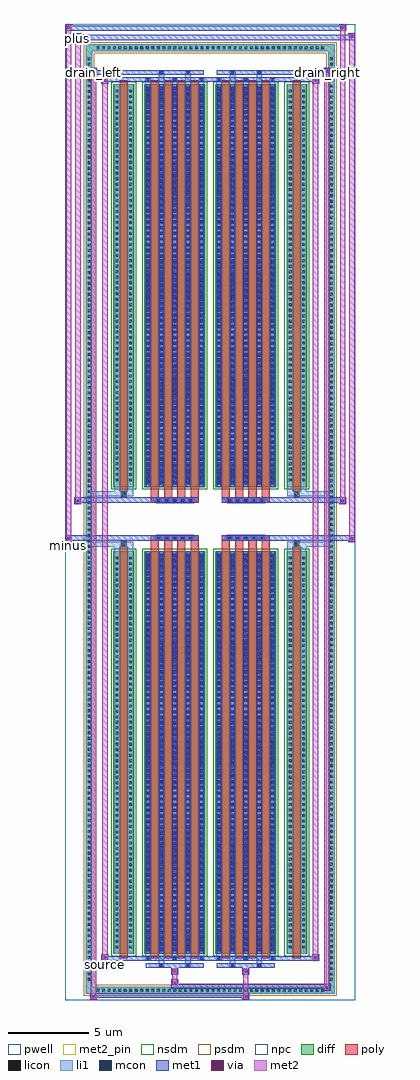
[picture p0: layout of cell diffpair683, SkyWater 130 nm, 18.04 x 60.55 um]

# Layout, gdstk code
import gdstk
lib = gdstk.Library(unit=1e-6, precision=5e-09)
def R(c, l, rs):  # rectangles x0, y0, x1, y1
    for r in rs: c.add(gdstk.rectangle(r[:2], r[2:], *l))
def A(c, l, x, y, w, h, nx, ny, dx, dy):  # array of equal rectangles
    R(c, l, [(x+i*dx, y+j*dy, x+i*dx+w, y+j*dy+h) for i in range(nx) for j in range(ny)])
def P(c, l, *ps):  # polygons
    for p in ps: c.add(gdstk.Polygon(p, *l))
pwell = (64, 44)
diff = (65, 20)
poly = (66, 20)
licon = (66, 44)
li1 = (67, 20)
mcon = (67, 44)
met1 = (68, 20)
via = (68, 44)
met2_pin = (69, 16)
met2 = (69, 20)
nsdm = (93, 44)
psdm = (94, 20)
npc = (95, 20)

diffpair683 = lib.new_cell('diffpair683')
R(diffpair683, pwell, [(-9,-29.84,9,30.71), (-6.32,-28.03,-0.01,-0.805), (0.01,-28.03,6.32,-0.805), (-6.32,0.805,-0.01,28.03), (0.01,0.805,6.32,28.03)])
A(diffpair683, diff, -7.175, -29.44, 0.41, 0.41, 42, 2, 0.34, 58.47)
A(diffpair683, diff, -7.73, -28.765, 0.41, 0.41, 1, 169, 0, 0.34)
A(diffpair683, diff, 7.32, -28.765, 0.41, 0.41, 1, 169, 0, 0.34)
R(diffpair683, diff, [(-7.175,-29.44,7.175,-29.03), (-7.73,-28.765,-7.32,28.765), (7.32,-28.765,7.73,28.765), (-6.01,-26.985,-4.73,-1.985), (-4.09,-26.985,-0.32,-1.985), (0.32,-26.985,4.09,-1.985), (4.73,-26.985,6.01,-1.985), (-6.01,1.985,-4.73,26.985), (-4.09,1.985,-0.32,26.985), (0.32,1.985,4.09,26.985), (4.73,1.985,6.01,26.985), (-7.175,29.03,7.175,29.44)])
P(diffpair683, diff, [(7.73,29.44),(-7.73,29.44),(-7.73,-29.03),(-7.32,-29.03),(-7.32,29.03),(7.32,29.03),(7.32,-29.03),(-7.32,-29.03),(-7.73,-29.03),(-7.73,-29.44),(7.73,-29.44)])
A(diffpair683, poly, -3.7, -27.235, 0.5, 25.5, 4, 2, 0.83, 28.97)
A(diffpair683, poly, 0.71, -27.235, 0.5, 25.5, 4, 2, 0.83, 28.97)
A(diffpair683, poly, -3.7, -1.735, 0.5, 0.4, 4, 2, 0.83, 3.07)
A(diffpair683, poly, 0.71, -1.735, 0.5, 0.4, 4, 2, 0.83, 3.07)
A(diffpair683, poly, -3.37, -1.335, 0.33, 0.33, 5, 2, 0.5, 2.34)
A(diffpair683, poly, 1.04, -1.335, 0.33, 0.33, 5, 2, 0.5, 2.34)
R(diffpair683, poly, [(-5.62,-27.235,-5.12,-1.735), (5.12,-27.235,5.62,-1.735), (-5.535,-1.735,-5.205,-1.405), (-5.535,-1.735,-5.205,-1.405), (5.205,-1.735,5.535,-1.405), (5.205,-1.735,5.535,-1.405), (-3.7,-1.335,-0.71,-1.005), (0.71,-1.335,3.7,-1.005), (-3.7,1.005,-0.71,1.335), (0.71,1.005,3.7,1.335), (-5.535,1.405,-5.205,1.735), (-5.535,1.405,-5.205,1.735), (5.205,1.405,5.535,1.735), (5.205,1.405,5.535,1.735), (-5.62,1.735,-5.12,27.235), (5.12,1.735,5.62,27.235)])
A(diffpair683, licon, -7.055, -29.32, 0.17, 0.17, 42, 2, 0.34, 58.47)
A(diffpair683, licon, -7.61, -28.645, 0.17, 0.17, 1, 169, 0, 0.34)
A(diffpair683, licon, 7.44, -28.645, 0.17, 0.17, 1, 169, 0, 0.34)
A(diffpair683, licon, -5.87, -26.64, 0.17, 0.17, 1, 72, 0, 0.34)
A(diffpair683, licon, -5.04, -26.64, 0.17, 0.17, 1, 72, 0, 0.34)
A(diffpair683, licon, -3.95, -26.64, 0.17, 0.17, 5, 72, 0.83, 0.34)
A(diffpair683, licon, 0.46, -26.64, 0.17, 0.17, 5, 72, 0.83, 0.34)
A(diffpair683, licon, 4.87, -26.64, 0.17, 0.17, 1, 72, 0, 0.34)
A(diffpair683, licon, 5.7, -26.64, 0.17, 0.17, 1, 72, 0, 0.34)
A(diffpair683, licon, -3.29, -1.255, 0.17, 0.17, 5, 2, 0.5, 2.34)
A(diffpair683, licon, 1.12, -1.255, 0.17, 0.17, 5, 2, 0.5, 2.34)
A(diffpair683, licon, -5.87, 2.33, 0.17, 0.17, 1, 72, 0, 0.34)
A(diffpair683, licon, -5.04, 2.33, 0.17, 0.17, 1, 72, 0, 0.34)
A(diffpair683, licon, -3.95, 2.33, 0.17, 0.17, 5, 72, 0.83, 0.34)
A(diffpair683, licon, 0.46, 2.33, 0.17, 0.17, 5, 72, 0.83, 0.34)
A(diffpair683, licon, 4.87, 2.33, 0.17, 0.17, 1, 72, 0, 0.34)
A(diffpair683, licon, 5.7, 2.33, 0.17, 0.17, 1, 72, 0, 0.34)
R(diffpair683, licon, [(-5.455,-1.655,-5.285,-1.485), (5.285,-1.655,5.455,-1.485), (-5.455,1.485,-5.285,1.655), (5.285,1.485,5.455,1.655)])
A(diffpair683, li1, -7.135, -29.4, 0.33, 0.33, 42, 2, 0.34, 58.47)
A(diffpair683, li1, -7.69, -28.725, 0.33, 0.33, 1, 169, 0, 0.34)
A(diffpair683, li1, 7.36, -28.725, 0.33, 0.33, 1, 169, 0, 0.34)
A(diffpair683, li1, -4.03, -27.36, 0.33, 0.375, 3, 2, 1.66, 54.345)
A(diffpair683, li1, -3.95, -27.36, 0.17, 0.17, 3, 2, 1.66, 54.55)
A(diffpair683, li1, 0.38, -27.36, 0.33, 0.375, 3, 2, 1.66, 54.345)
A(diffpair683, li1, 0.46, -27.36, 0.17, 0.17, 3, 2, 1.66, 54.55)
A(diffpair683, li1, -4.03, -26.985, 0.33, 25, 5, 2, 0.83, 28.97)
A(diffpair683, li1, 0.38, -26.985, 0.33, 25, 5, 2, 0.83, 28.97)
A(diffpair683, li1, -3.95, -26.81, 0.17, 0.17, 5, 69, 0.83, 0.36)
A(diffpair683, li1, -3.95, -26.81, 0.17, 24.65, 5, 2, 0.83, 28.97)
A(diffpair683, li1, 0.46, -26.81, 0.17, 0.17, 5, 69, 0.83, 0.36)
A(diffpair683, li1, 0.46, -26.81, 0.17, 24.65, 5, 2, 0.83, 28.97)
A(diffpair683, li1, -5.95, -26.72, 0.33, 0.33, 1, 72, 0, 0.34)
A(diffpair683, li1, -5.12, -26.72, 0.33, 0.33, 1, 72, 0, 0.34)
A(diffpair683, li1, -4.03, -26.72, 0.33, 0.33, 5, 72, 0.83, 0.34)
A(diffpair683, li1, 0.38, -26.72, 0.33, 0.33, 5, 72, 0.83, 0.34)
A(diffpair683, li1, 4.79, -26.72, 0.33, 0.33, 1, 72, 0, 0.34)
A(diffpair683, li1, 5.62, -26.72, 0.33, 0.33, 1, 72, 0, 0.34)
A(diffpair683, li1, -3.37, -1.335, 0.33, 0.33, 5, 2, 0.5, 2.34)
A(diffpair683, li1, 1.04, -1.335, 0.33, 0.33, 5, 2, 0.5, 2.34)
A(diffpair683, li1, -3.95, 2.16, 0.17, 0.17, 5, 69, 0.83, 0.36)
A(diffpair683, li1, 0.46, 2.16, 0.17, 0.17, 5, 69, 0.83, 0.36)
A(diffpair683, li1, -5.95, 2.25, 0.33, 0.33, 1, 72, 0, 0.34)
A(diffpair683, li1, -5.12, 2.25, 0.33, 0.33, 1, 72, 0, 0.34)
A(diffpair683, li1, -4.03, 2.25, 0.33, 0.33, 5, 72, 0.83, 0.34)
A(diffpair683, li1, 0.38, 2.25, 0.33, 0.33, 5, 72, 0.83, 0.34)
A(diffpair683, li1, 4.79, 2.25, 0.33, 0.33, 1, 72, 0, 0.34)
A(diffpair683, li1, 5.62, 2.25, 0.33, 0.33, 1, 72, 0, 0.34)
R(diffpair683, li1, [(-7.73,-29.44,-7.32,-29.03), (-7.73,-29.44,-7.32,-29.03), (-7.32,-29.44,7.32,-29.03), (7.32,-29.44,7.73,-29.03), (7.32,-29.44,7.73,-29.03), (-7.73,-29.03,-7.32,29.03), (7.32,-29.03,7.73,29.03), (-3.2,-27.79,-2.87,-26.985), (-3.12,-27.79,-2.95,-27.62), (-1.54,-27.79,-1.21,-26.985), (-1.46,-27.79,-1.29,-27.62), (1.21,-27.79,1.54,-26.985), (1.29,-27.79,1.46,-27.62), (2.87,-27.79,3.2,-26.985), (2.95,-27.79,3.12,-27.62), (-5.95,-26.985,-5.62,-1.985), (-5.12,-26.985,-4.79,-1.985), (4.79,-26.985,5.12,-1.985), (5.62,-26.985,5.95,-1.985), (-5.95,-1.985,-5.62,-1.405), (-5.12,-1.985,-4.79,-1.405), (4.79,-1.985,5.12,-1.405), (5.62,-1.985,5.95,-1.405), (-7.73,-1.735,-5.535,-1.405), (-5.95,-1.735,-5.535,-1.405), (-5.535,-1.735,-5.205,-1.405), (-5.205,-1.735,-4.79,-1.405), (4.79,-1.735,5.205,-1.405), (5.205,-1.735,5.535,-1.405), (5.205,-1.735,7.73,-1.405), (5.535,-1.735,5.95,-1.405), (-7.73,1.405,-5.535,1.735), (-5.95,1.405,-5.535,1.735), (-5.95,1.405,-5.62,1.985), (-5.535,1.405,-5.205,1.735), (-5.205,1.405,-4.79,1.735), (-5.12,1.405,-4.79,1.985), (4.79,1.405,5.205,1.735), (4.79,1.405,5.12,1.985), (5.205,1.405,5.535,1.735), (5.205,1.405,7.73,1.735), (5.535,1.405,5.95,1.735), (5.62,1.405,5.95,1.985), (-5.95,1.985,-5.62,26.985), (-5.12,1.985,-4.79,26.985), (4.79,1.985,5.12,26.985), (5.62,1.985,5.95,26.985), (-3.2,26.985,-2.87,27.79), (-1.54,26.985,-1.21,27.79), (1.21,26.985,1.54,27.79), (2.87,26.985,3.2,27.79), (-3.12,27.62,-2.95,27.79), (-1.46,27.62,-1.29,27.79), (1.29,27.62,1.46,27.79), (2.95,27.62,3.12,27.79), (-7.73,29.03,-7.32,29.44), (-7.73,29.03,-7.32,29.44), (-7.32,29.03,7.32,29.44), (7.32,29.03,7.73,29.44), (7.32,29.03,7.73,29.44)])
A(diffpair683, mcon, -3.95, -27.36, 0.17, 0.17, 3, 2, 1.66, 54.55)
A(diffpair683, mcon, 0.46, -27.36, 0.17, 0.17, 3, 2, 1.66, 54.55)
A(diffpair683, mcon, -3.95, -26.81, 0.17, 0.17, 5, 69, 0.83, 0.36)
A(diffpair683, mcon, 0.46, -26.81, 0.17, 0.17, 5, 69, 0.83, 0.36)
A(diffpair683, mcon, -3.29, -1.255, 0.17, 0.17, 5, 2, 0.5, 2.34)
A(diffpair683, mcon, 1.12, -1.255, 0.17, 0.17, 5, 2, 0.5, 2.34)
A(diffpair683, mcon, -3.95, 2.16, 0.17, 0.17, 5, 69, 0.83, 0.36)
A(diffpair683, mcon, 0.46, 2.16, 0.17, 0.17, 5, 69, 0.83, 0.36)
R(diffpair683, mcon, [(-3.12,-27.79,-2.95,-27.62), (-1.46,-27.79,-1.29,-27.62), (1.29,-27.79,1.46,-27.62), (2.95,-27.79,3.12,-27.62), (-3.12,27.62,-2.95,27.79), (-1.46,27.62,-1.29,27.79), (1.29,27.62,1.46,27.79), (2.95,27.62,3.12,27.79)])
A(diffpair683, met1, -4.01, -27.42, 0.29, 0.29, 3, 2, 1.66, 54.55)
A(diffpair683, met1, 0.4, -27.42, 0.29, 0.29, 3, 2, 1.66, 54.55)
A(diffpair683, met1, -4.01, -26.985, 0.29, 25, 5, 2, 0.83, 28.97)
A(diffpair683, met1, 0.4, -26.985, 0.29, 25, 5, 2, 0.83, 28.97)
A(diffpair683, met1, -4.01, -26.87, 0.29, 0.29, 5, 69, 0.83, 0.36)
A(diffpair683, met1, 0.4, -26.87, 0.29, 0.29, 5, 69, 0.83, 0.36)
A(diffpair683, met1, -3.35, -1.315, 0.29, 0.29, 5, 2, 0.5, 2.34)
A(diffpair683, met1, 1.06, -1.315, 0.29, 0.29, 5, 2, 0.5, 2.34)
A(diffpair683, met1, -4.01, 2.1, 0.29, 0.29, 5, 69, 0.83, 0.36)
A(diffpair683, met1, 0.4, 2.1, 0.29, 0.29, 5, 69, 0.83, 0.36)
R(diffpair683, met1, [(-7.46,-29.84,-7.03,-29.41), (1.99,-29.84,2.42,-29.41), (-7.46,-29.7,2.42,-29.41), (7.03,-29.27,7.46,-28.84), (-2.42,-29.13,7.46,-28.84), (-2.42,-28.99,-1.99,-28.56), (-2.42,-28.28,-1.99,-27.85), (1.99,-28.28,2.42,-27.85), (-4.01,-27.85,-0.4,-27.56), (-3.18,-27.85,-2.89,-27.56), (-1.52,-27.85,-1.23,-27.56), (0.4,-27.85,4.01,-27.56), (1.23,-27.85,1.52,-27.56), (2.89,-27.85,3.18,-27.56), (-6.75,-27.42,-6.32,-26.99), (-6.75,-27.42,-4.01,-27.13), (-4.01,-27.42,-0.4,-27.13), (-0.4,-27.42,0.4,-27.13), (0.4,-27.42,4.01,-27.13), (4.01,-27.42,6.75,-27.13), (6.32,-27.42,6.75,-26.99), (-9,-1.435,-8.57,-1.005), (8.57,-1.435,9,-1.005), (-9,-1.335,-0.71,-1.005), (-3.7,-1.335,-0.71,-1.005), (0.71,-1.335,3.7,-1.005), (0.71,-1.335,9,-1.005), (-8.43,0.905,-8,1.335), (8,0.905,8.43,1.335), (-8.43,1.005,-3.7,1.335), (-3.7,1.005,-0.71,1.335), (0.71,1.005,3.7,1.335), (3.7,1.005,8.43,1.335), (-6.75,26.99,-6.32,27.42), (6.32,26.99,6.75,27.42), (-6.75,27.13,-4.01,27.42), (-4.01,27.13,-0.4,27.42), (-0.4,27.13,0.4,27.42), (0.4,27.13,4.01,27.42), (4.01,27.13,6.75,27.42), (-7.46,27.56,-7.03,27.99), (-7.46,27.56,-4.01,27.85), (-4.01,27.56,-0.4,27.85), (-3.18,27.56,-2.89,27.85), (-1.52,27.56,-1.23,27.85), (0.4,27.56,4.01,27.85), (1.23,27.56,1.52,27.85), (2.89,27.56,3.18,27.85), (4.01,27.56,7.46,27.85), (7.03,27.56,7.46,27.99), (-8.43,29.71,-8,30.14), (-8.43,29.71,-6.32,30.04), (-6.32,29.71,6.32,30.04), (6.32,29.71,9,30.04), (8.57,29.71,9,30.14), (-9,30.28,-8.57,30.71), (-9,30.28,-6.32,30.61), (-6.32,30.28,6.32,30.61), (6.32,30.28,8.43,30.61), (8,30.28,8.43,30.71)])
R(diffpair683, via, [(-7.32,-29.7,-7.17,-29.55), (2.13,-29.7,2.28,-29.55), (7.17,-29.13,7.32,-28.98), (-2.28,-28.85,-2.13,-28.7), (-2.28,-28.14,-2.13,-27.99), (2.13,-28.14,2.28,-27.99), (-6.61,-27.28,-6.46,-27.13), (6.46,-27.28,6.61,-27.13), (-8.86,-1.295,-8.71,-1.145), (8.71,-1.295,8.86,-1.145), (-8.29,1.045,-8.14,1.195), (8.14,1.045,8.29,1.195), (-6.61,27.13,-6.46,27.28), (6.46,27.13,6.61,27.28), (-7.32,27.7,-7.17,27.85), (7.17,27.7,7.32,27.85), (-8.29,29.85,-8.14,30), (8.71,29.85,8.86,30), (-8.86,30.42,-8.71,30.57), (8.14,30.42,8.29,30.57)])
R(diffpair683, met2_pin, [(-6.785,-27.87,-6.285,-27.37), (-9.035,-1.885,-8.535,-1.385), (-7.495,27.44,-6.995,27.94), (6.995,27.44,7.495,27.94), (-8.465,29.59,-7.965,30.09)])
R(diffpair683, met2, [(-7.41,-29.79,-7.08,-29.46), (-7.41,-29.79,-7.08,27.94), (2.04,-29.79,2.37,-29.46), (2.04,-29.46,2.37,-28.23), (7.08,-29.22,7.41,-28.89), (7.08,-29.22,7.41,27.94), (-2.37,-28.94,-2.04,-28.61), (-2.37,-28.61,-2.04,-28.23), (-2.37,-28.23,-2.04,-27.9), (2.04,-28.23,2.37,-27.9), (-6.7,-27.37,-6.37,-27.04), (-6.7,-27.37,-6.37,27.37), (6.37,-27.37,6.7,-27.04), (6.37,-27.37,6.7,27.37), (-8.95,-1.385,-8.62,-1.055), (-8.95,-1.385,-8.62,30.66), (8.62,-1.385,8.95,-1.055), (8.62,-1.385,8.95,30.09), (-8.38,0.955,-8.05,1.285), (-8.38,0.955,-8.05,30.09), (8.05,0.955,8.38,1.285), (8.05,0.955,8.38,30.66), (-6.7,27.04,-6.37,27.37), (6.37,27.04,6.7,27.37), (-7.41,27.61,-7.08,27.94), (7.08,27.61,7.41,27.94), (-8.38,29.76,-8.05,30.09), (8.62,29.76,8.95,30.09), (-8.95,30.33,-8.62,30.66), (8.05,30.33,8.38,30.66)])
P(diffpair683, met2, [(8.95,-1.385),(8.95,-1.385),(8.95,-1.055),(8.95,-1.055)],
  [(8.95,29.76),(8.95,29.76),(8.95,30.09),(8.95,30.09)],
  [(-8.62,-1.385),(-8.62,-1.385),(-8.62,-1.055),(-8.62,-1.055)],
  [(-8.62,30.33),(-8.62,30.33),(-8.62,30.66),(-8.62,30.66)],
  [(8.38,0.955),(8.38,0.955),(8.38,1.285),(8.38,1.285)],
  [(8.38,30.33),(8.38,30.33),(8.38,30.66),(8.38,30.66)],
  [(-8.05,0.955),(-8.05,0.955),(-8.05,1.285),(-8.05,1.285)],
  [(-8.05,29.76),(-8.05,29.76),(-8.05,30.09),(-8.05,30.09)],
  [(-7.08,-29.79),(-7.08,-29.79),(-7.08,-29.46),(-7.08,-29.46)],
  [(-7.08,27.61),(-7.08,27.61),(-7.08,27.94),(-7.08,27.94)],
  [(7.41,-29.22),(7.41,-29.22),(7.41,-28.89),(7.41,-28.89)],
  [(7.41,27.61),(7.41,27.61),(7.41,27.94),(7.41,27.94)],
  [(-6.37,-27.37),(-6.37,-27.37),(-6.37,-27.04),(-6.37,-27.04)],
  [(-6.37,27.04),(-6.37,27.04),(-6.37,27.37),(-6.37,27.37)],
  [(6.7,-27.37),(6.7,-27.37),(6.7,-27.04),(6.7,-27.04)],
  [(6.7,27.04),(6.7,27.04),(6.7,27.37),(6.7,27.37)])
R(diffpair683, nsdm, [(-6.14,-27.115,-4.6,-1.855), (-4.22,-27.115,-0.19,-1.855), (0.19,-27.115,4.22,-1.855), (4.6,-27.115,6.14,-1.855), (-6.14,1.855,-4.6,27.115), (-4.22,1.855,-0.19,27.115), (0.19,1.855,4.22,27.115), (4.6,1.855,6.14,27.115)])
P(diffpair683, psdm, [(7.86,29.57),(-7.86,29.57),(-7.86,-28.9),(-7.19,-28.9),(-7.19,28.9),(7.19,28.9),(7.19,-28.9),(-7.19,-28.9),(-7.86,-28.9),(-7.86,-29.57),(7.86,-29.57)])
A(diffpair683, npc, -3.39, -1.355, 0.37, 0.37, 5, 2, 0.5, 2.34)
A(diffpair683, npc, 1.02, -1.355, 0.37, 0.37, 5, 2, 0.5, 2.34)
R(diffpair683, npc, [(-5.555,-1.755,-5.185,-1.385), (5.185,-1.755,5.555,-1.385), (-3.39,-1.355,-2.52,-0.985), (-3.39,-1.355,-2.52,-0.985), (-2.89,-1.355,-2.02,-0.985), (-2.89,-1.355,-2.02,-0.985), (-2.39,-1.355,-1.52,-0.985), (-2.39,-1.355,-1.52,-0.985), (-1.89,-1.355,-1.02,-0.985), (-1.89,-1.355,-1.02,-0.985), (1.02,-1.355,1.89,-0.985), (1.02,-1.355,1.89,-0.985), (1.52,-1.355,2.39,-0.985), (1.52,-1.355,2.39,-0.985), (2.02,-1.355,2.89,-0.985), (2.02,-1.355,2.89,-0.985), (2.52,-1.355,3.39,-0.985), (2.52,-1.355,3.39,-0.985), (-3.39,0.985,-2.52,1.355), (-3.39,0.985,-2.52,1.355), (-2.89,0.985,-2.02,1.355), (-2.89,0.985,-2.02,1.355), (-2.39,0.985,-1.52,1.355), (-2.39,0.985,-1.52,1.355), (-1.89,0.985,-1.02,1.355), (-1.89,0.985,-1.02,1.355), (1.02,0.985,1.89,1.355), (1.02,0.985,1.89,1.355), (1.52,0.985,2.39,1.355), (1.52,0.985,2.39,1.355), (2.02,0.985,2.89,1.355), (2.02,0.985,2.89,1.355), (2.52,0.985,3.39,1.355), (2.52,0.985,3.39,1.355), (-5.555,1.385,-5.185,1.755), (5.185,1.385,5.555,1.755)])
diffpair683.add(gdstk.Label('minus', (-8.785,-1.635), layer=69, texttype=5))
diffpair683.add(gdstk.Label('drain_right', (7.245,27.69), layer=69, texttype=5))
diffpair683.add(gdstk.Label('drain_left', (-7.245,27.69), layer=69, texttype=5))
diffpair683.add(gdstk.Label('source', (-6.535,-27.62), layer=69, texttype=5))
diffpair683.add(gdstk.Label('plus', (-8.215,29.84), layer=69, texttype=5))

lib.write_gds('diffpair683.gds')
